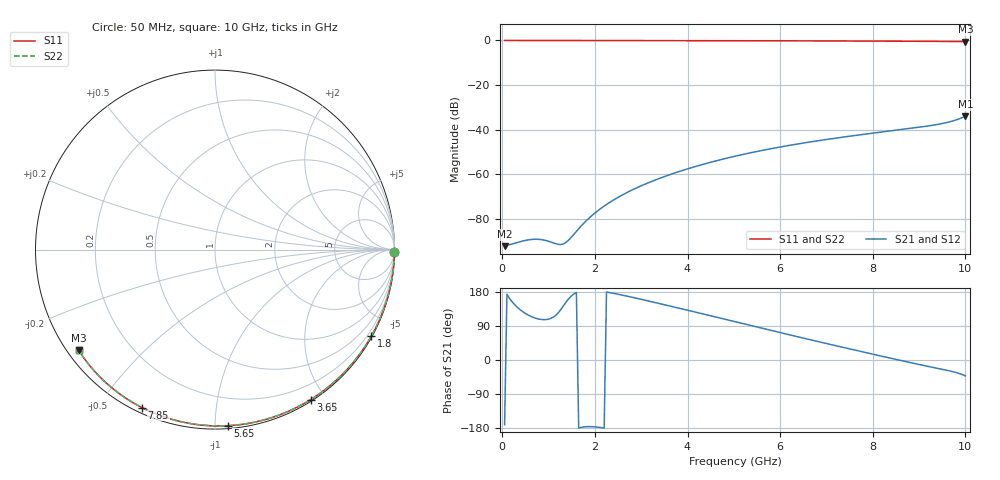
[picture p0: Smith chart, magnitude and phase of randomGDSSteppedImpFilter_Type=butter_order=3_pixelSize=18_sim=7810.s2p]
! freq	dB(S11)	phase(S11)	dB(S12)	phase(S12)
!  dB(S21)	phase(S21)	dB(S22)	phase(S22)
!S-par simulation data
#  GHz  S  DB  R 50
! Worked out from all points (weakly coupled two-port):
!   200 points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, 50 MHz to 10 GHz, reference 50 ohm
!   highest |S21| = -34.02 dB at 10 GHz (marker M1); lowest = -92.2 dB at 50 MHz (marker M2)
!   lowest |S11| = -0.5 dB at 10 GHz (marker M3), VSWR 34.07, Z = 1.63 - j16.5 ohm
!   |S11| at or under -10 dB: nowhere
!   |S22| runs from -0.5 to 0.0 dB; largest |S21 - S12| = 0
!   S11 on the Smith chart (normalised r, x): 50 MHz: open; 1.8 GHz: 0.03, -3.86; 3.65 GHz: 0.02, -1.82; 5.65 GHz: 0.02, -1.07; 7.85 GHz: 0.02, -0.64; 10 GHz: 0.03, -0.33
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0.05  -0.00 -0.8  -92.23 -170.8  -92.23 -170.8  -0.00 -0.8
0.85  -0.01 -13.9  -89.31 106.9  -89.31 106.9  -0.01 -13.9
1.75  -0.04 -28.3  -82.14 -176.8  -82.14 -176.8  -0.04 -28.3
1.8  -0.04 -29.1  -81.09 -176.1  -81.09 -176.1  -0.04 -29.1
1.85  -0.04 -29.8  -80.09 -175.8  -80.09 -175.8  -0.04 -29.8
2.05  -0.04 -33.0  -76.52 -177.1  -76.52 -177.1  -0.04 -33.0
2.2  -0.05 -35.3  -74.24 -179.6  -74.24 -179.6  -0.05 -35.3
2.55  -0.05 -40.8  -69.73 172.3  -69.73 172.3  -0.05 -40.8
2.95  -0.06 -46.9  -65.61 161.6  -65.61 161.6  -0.06 -46.9
3.4  -0.07 -53.7  -61.79 148.8  -61.79 148.8  -0.07 -53.7
3.65  -0.08 -57.5  -59.93 141.6  -59.93 141.6  -0.08 -57.5
4.3  -0.09 -67.0  -55.74 122.6  -55.74 122.6  -0.09 -67.0
5.05  -0.12 -77.6  -51.79 100.4  -51.79 100.4  -0.12 -77.6
5.65  -0.14 -85.9  -49.14 82.6  -49.14 82.6  -0.14 -85.9
6.7  -0.19 -100.0  -45.33 52.0  -45.33 52.0  -0.19 -100.0
7.25  -0.23 -107.1  -43.64 36.4  -43.64 36.4  -0.23 -107.2
7.85  -0.27 -114.8  -41.96 19.6  -41.96 19.6  -0.27 -114.9
8.35  -0.31 -121.2  -40.63 5.7  -40.63 5.7  -0.31 -121.2
9.1  -0.38 -130.8  -38.63 -14.5  -38.63 -14.5  -0.38 -130.8
9.45  -0.42 -135.4  -37.46 -23.3  -37.46 -23.3  -0.42 -135.5
9.75  -0.46 -139.6  -35.96 -31.4  -35.96 -31.4  -0.46 -139.6
10  -0.51 -143.4  -34.02 -42.0  -34.02 -42.0  -0.51 -143.4
